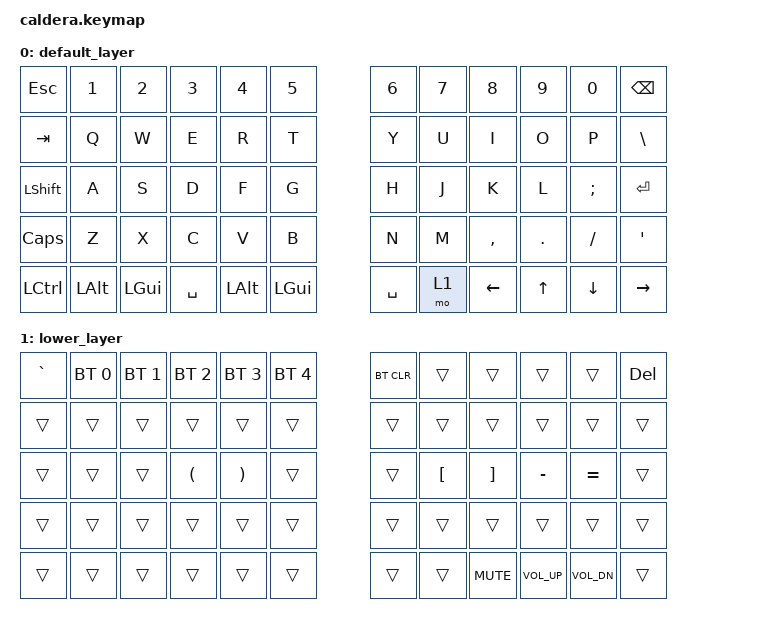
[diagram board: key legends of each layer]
#include <behaviors.dtsi>
#include <dt-bindings/zmk/keys.h>
#include <dt-bindings/zmk/bt.h>

/ {
        keymap {
                compatible = "zmk,keymap";

                default_layer {
// ---------------------------------------------------------------------------------
// | ESC  |  1  |  2  |  3  |  4  |  5  |     |  6  |  7  |  8  |  9  |  0  | BKSP |
// | TAB  |  Q  |  W  |  E  |  R  |  T  |     |  Y  |  U  |  I  |  O  |  P  |  B\  |
// | SHFT |  A  |  S  |  D  |  F  |  G  |     |  H  |  J  |  K  |  L  |  ;  |  ENT |
// | CAPS |  Z  |  X  |  C  |  V  |  B  |     |  N  |  M  |  ,  |  .  |  /  | APOS |
// | CTRL | ALT | GUI | SPC | ALT | GUI |     | SPC | LOW |LEFT |  UP | DOWN| RIGHT|
                        bindings = <
   &kp ESC    &kp N1    &kp N2    &kp N3     &kp N4     &kp N5               &kp N6     &kp N7  &kp N8     &kp N9    &kp N0    &kp BSPC
   &kp TAB    &kp Q     &kp W     &kp E      &kp R      &kp T                &kp Y      &kp U   &kp I      &kp O     &kp P     &kp BSLH
   &kp LSHFT  &kp A     &kp S     &kp D      &kp F      &kp G                &kp H      &kp J   &kp K      &kp L     &kp SEMI  &kp RET
   &kp CAPS   &kp Z     &kp X     &kp C      &kp V      &kp B                &kp N      &kp M   &kp COMMA  &kp DOT   &kp FSLH  &kp APOS
   &kp LCTRL  &kp LALT  &kp LGUI  &kp SPACE   &kp LALT  &kp LGUI             &kp SPACE  &mo 1   &kp LEFT   &kp UP    &kp DOWN  &kp RIGHT
                        >;
                };
                lower_layer {
// ------------------------------------------------------------------------------------------------------------
// |    `  |  BT1  |  BT2  |  BT3  |  BT4  |  BT5  |          | BTCLR |       |       |       |       |  DELETE|
// |       |       |       |       |       |       |          |       |       |       |       |       |        |
// |       |       |       | LPAR  | RPAR  |       |          |       | LBKT  | RBKT  |       |       |        |
// |       |       |       |       |       |       |          |       |       |       |       |       |        |
// |       |       |       |       |       |       |          |       |       |  MUT  |  VOLU |  VOLD |        |
                        bindings = <
   &kp GRAVE    &bt BT_SEL 0   &bt BT_SEL 1   &bt BT_SEL 2   &bt BT_SEL 3   &bt BT_SEL 4           &bt BT_CLR    &trans    &trans        &trans           &trans             &kp DELETE
   &trans       &trans         &trans         &trans         &trans         &trans                 &trans        &trans    &trans        &trans           &trans             &trans
   &trans       &trans         &trans         &kp LPAR       &kp RPAR       &trans                 &trans        &kp LBKT  &kp RBKT      &kp MINUS        &kp EQUAL          &trans
   &trans       &trans         &trans         &trans         &trans         &trans                 &trans        &trans    &trans        &trans           &trans             &trans
   &trans       &trans         &trans         &trans         &trans         &trans                 &trans        &trans    &kp C_MUTE   &kp C_VOL_UP     &kp C_VOL_DN       &trans
                        >;
                };
        };
}; 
